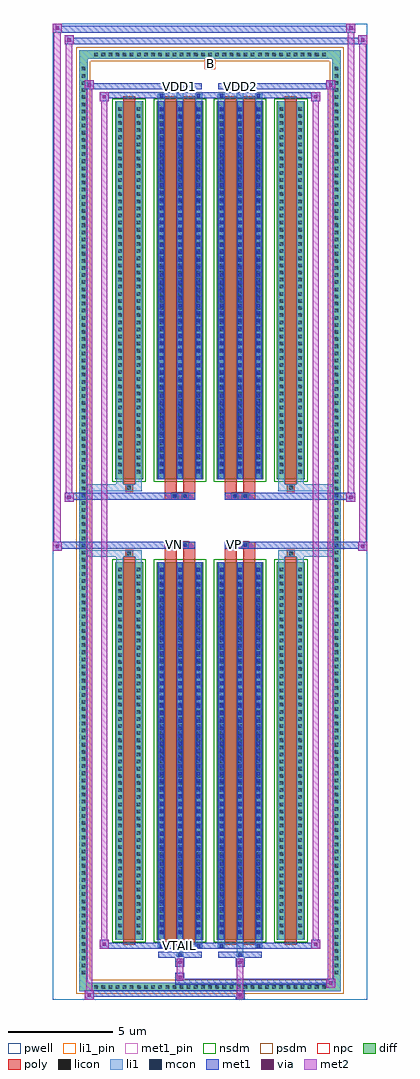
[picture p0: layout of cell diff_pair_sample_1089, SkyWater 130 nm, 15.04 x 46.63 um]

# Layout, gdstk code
import gdstk
lib = gdstk.Library(unit=1e-6, precision=5e-09)
def R(c, l, rs):  # rectangles x0, y0, x1, y1
    for r in rs: c.add(gdstk.rectangle(r[:2], r[2:], *l))
def A(c, l, x, y, w, h, nx, ny, dx, dy):  # array of equal rectangles
    R(c, l, [(x+i*dx, y+j*dy, x+i*dx+w, y+j*dy+h) for i in range(nx) for j in range(ny)])
def P(c, l, *ps):  # polygons
    for p in ps: c.add(gdstk.Polygon(p, *l))
pwell = (64, 44)
diff = (65, 20)
poly = (66, 20)
licon = (66, 44)
li1_pin = (67, 16)
li1 = (67, 20)
mcon = (67, 44)
met1_pin = (68, 16)
met1 = (68, 20)
via = (68, 44)
met2 = (69, 20)
nsdm = (93, 44)
psdm = (94, 20)
npc = (95, 20)

diff_pair_sample_1089 = lib.new_cell('diff_pair_sample_1089')
R(diff_pair_sample_1089, pwell, [(-7.52,-22.88,7.52,23.75), (-4.84,-21.07,-0.01,-0.805), (0.01,-21.07,4.84,-0.805), (-4.84,0.805,-0.01,21.07), (0.01,0.805,4.84,21.07)])
A(diff_pair_sample_1089, diff, -5.645, -22.48, 0.41, 0.41, 33, 2, 0.34, 44.55)
A(diff_pair_sample_1089, diff, -6.25, -21.795, 0.41, 0.41, 1, 128, 0, 0.34)
A(diff_pair_sample_1089, diff, 5.84, -21.795, 0.41, 0.41, 1, 128, 0, 0.34)
R(diff_pair_sample_1089, diff, [(-5.645,-22.48,5.645,-22.07), (-6.25,-21.795,-5.84,21.795), (5.84,-21.795,6.25,21.795), (-4.53,-20.025,-3.19,-1.985), (-2.55,-20.025,-0.32,-1.985), (0.32,-20.025,2.55,-1.985), (3.19,-20.025,4.53,-1.985), (-4.53,1.985,-3.19,20.025), (-2.55,1.985,-0.32,20.025), (0.32,1.985,2.55,20.025), (3.19,1.985,4.53,20.025), (-5.645,22.07,5.645,22.48)])
P(diff_pair_sample_1089, diff, [(6.25,22.48),(-6.25,22.48),(-6.25,-22.07),(-5.84,-22.07),(-5.84,22.07),(5.84,22.07),(5.84,-22.07),(-5.84,-22.07),(-6.25,-22.07),(-6.25,-22.48),(6.25,-22.48)])
R(diff_pair_sample_1089, poly, [(-4.14,-20.275,-3.58,-1.735), (-2.16,-20.275,-1.6,-1.735), (-1.27,-20.275,-0.71,-1.735), (0.71,-20.275,1.27,-1.735), (1.6,-20.275,2.16,-1.735), (3.58,-20.275,4.14,-1.735), (-4.025,-1.735,-3.695,-1.405), (-4.025,-1.735,-3.695,-1.405), (-2.16,-1.735,-1.6,-1.335), (-1.27,-1.735,-0.71,-1.335), (0.71,-1.735,1.27,-1.335), (1.6,-1.735,2.16,-1.335), (3.695,-1.735,4.025,-1.405), (3.695,-1.735,4.025,-1.405), (-2.16,-1.335,-0.71,-1.005), (-1.85,-1.335,-1.52,-1.005), (-1.35,-1.335,-1.02,-1.005), (0.71,-1.335,2.16,-1.005), (1.02,-1.335,1.35,-1.005), (1.52,-1.335,1.85,-1.005), (-2.16,1.005,-0.71,1.335), (-1.85,1.005,-1.52,1.335), (-1.35,1.005,-1.02,1.335), (0.71,1.005,2.16,1.335), (1.02,1.005,1.35,1.335), (1.52,1.005,1.85,1.335), (-2.16,1.335,-1.6,1.735), (-1.27,1.335,-0.71,1.735), (0.71,1.335,1.27,1.735), (1.6,1.335,2.16,1.735), (-4.025,1.405,-3.695,1.735), (-4.025,1.405,-3.695,1.735), (3.695,1.405,4.025,1.735), (3.695,1.405,4.025,1.735), (-4.14,1.735,-3.58,20.275), (-2.16,1.735,-1.6,20.275), (-1.27,1.735,-0.71,20.275), (0.71,1.735,1.27,20.275), (1.6,1.735,2.16,20.275), (3.58,1.735,4.14,20.275)])
A(diff_pair_sample_1089, licon, -5.525, -22.36, 0.17, 0.17, 33, 2, 0.34, 44.55)
A(diff_pair_sample_1089, licon, -6.13, -21.675, 0.17, 0.17, 1, 128, 0, 0.34)
A(diff_pair_sample_1089, licon, 5.96, -21.675, 0.17, 0.17, 1, 128, 0, 0.34)
A(diff_pair_sample_1089, licon, -4.39, -19.76, 0.17, 0.17, 1, 52, 0, 0.34)
A(diff_pair_sample_1089, licon, -3.5, -19.76, 0.17, 0.17, 1, 52, 0, 0.34)
A(diff_pair_sample_1089, licon, -2.41, -19.76, 0.17, 0.17, 3, 52, 0.89, 0.34)
A(diff_pair_sample_1089, licon, 0.46, -19.76, 0.17, 0.17, 3, 52, 0.89, 0.34)
A(diff_pair_sample_1089, licon, 3.33, -19.76, 0.17, 0.17, 1, 52, 0, 0.34)
A(diff_pair_sample_1089, licon, 4.22, -19.76, 0.17, 0.17, 1, 52, 0, 0.34)
A(diff_pair_sample_1089, licon, -4.39, 2.25, 0.17, 0.17, 1, 52, 0, 0.34)
A(diff_pair_sample_1089, licon, -3.5, 2.25, 0.17, 0.17, 1, 52, 0, 0.34)
A(diff_pair_sample_1089, licon, -2.41, 2.25, 0.17, 0.17, 3, 52, 0.89, 0.34)
A(diff_pair_sample_1089, licon, 0.46, 2.25, 0.17, 0.17, 3, 52, 0.89, 0.34)
A(diff_pair_sample_1089, licon, 3.33, 2.25, 0.17, 0.17, 1, 52, 0, 0.34)
A(diff_pair_sample_1089, licon, 4.22, 2.25, 0.17, 0.17, 1, 52, 0, 0.34)
R(diff_pair_sample_1089, licon, [(-3.945,-1.655,-3.775,-1.485), (3.775,-1.655,3.945,-1.485), (-1.77,-1.255,-1.6,-1.085), (-1.27,-1.255,-1.1,-1.085), (1.1,-1.255,1.27,-1.085), (1.6,-1.255,1.77,-1.085), (-1.77,1.085,-1.6,1.255), (-1.27,1.085,-1.1,1.255), (1.1,1.085,1.27,1.255), (1.6,1.085,1.77,1.255), (-3.945,1.485,-3.775,1.655), (3.775,1.485,3.945,1.655)])
R(diff_pair_sample_1089, li1_pin, [(-0.25,21.57,0.25,22.07)])
A(diff_pair_sample_1089, li1, -5.605, -22.44, 0.33, 0.33, 33, 2, 0.34, 44.55)
A(diff_pair_sample_1089, li1, -6.21, -21.755, 0.33, 0.33, 1, 128, 0, 0.34)
A(diff_pair_sample_1089, li1, 5.88, -21.755, 0.33, 0.33, 1, 128, 0, 0.34)
A(diff_pair_sample_1089, li1, -2.49, -20.025, 0.33, 18.04, 3, 2, 0.89, 22.01)
A(diff_pair_sample_1089, li1, 0.38, -20.025, 0.33, 18.04, 3, 2, 0.89, 22.01)
A(diff_pair_sample_1089, li1, -4.47, -19.84, 0.33, 0.33, 1, 52, 0, 0.34)
A(diff_pair_sample_1089, li1, -3.58, -19.84, 0.33, 0.33, 1, 52, 0, 0.34)
A(diff_pair_sample_1089, li1, -2.49, -19.84, 0.33, 0.33, 3, 52, 0.89, 0.34)
A(diff_pair_sample_1089, li1, 0.38, -19.84, 0.33, 0.33, 3, 52, 0.89, 0.34)
A(diff_pair_sample_1089, li1, 3.25, -19.84, 0.33, 0.33, 1, 52, 0, 0.34)
A(diff_pair_sample_1089, li1, 4.14, -19.84, 0.33, 0.33, 1, 52, 0, 0.34)
A(diff_pair_sample_1089, li1, -2.41, -19.73, 0.17, 0.17, 3, 49, 0.89, 0.36)
A(diff_pair_sample_1089, li1, -2.41, -19.73, 0.17, 17.45, 3, 2, 0.89, 22.01)
A(diff_pair_sample_1089, li1, 0.46, -19.73, 0.17, 0.17, 3, 49, 0.89, 0.36)
A(diff_pair_sample_1089, li1, 0.46, -19.73, 0.17, 17.45, 3, 2, 0.89, 22.01)
A(diff_pair_sample_1089, li1, -4.47, 2.17, 0.33, 0.33, 1, 52, 0, 0.34)
A(diff_pair_sample_1089, li1, -3.58, 2.17, 0.33, 0.33, 1, 52, 0, 0.34)
A(diff_pair_sample_1089, li1, -2.49, 2.17, 0.33, 0.33, 3, 52, 0.89, 0.34)
A(diff_pair_sample_1089, li1, 0.38, 2.17, 0.33, 0.33, 3, 52, 0.89, 0.34)
A(diff_pair_sample_1089, li1, 3.25, 2.17, 0.33, 0.33, 1, 52, 0, 0.34)
A(diff_pair_sample_1089, li1, 4.14, 2.17, 0.33, 0.33, 1, 52, 0, 0.34)
A(diff_pair_sample_1089, li1, -2.41, 2.28, 0.17, 0.17, 3, 49, 0.89, 0.36)
A(diff_pair_sample_1089, li1, 0.46, 2.28, 0.17, 0.17, 3, 49, 0.89, 0.36)
R(diff_pair_sample_1089, li1, [(-6.25,-22.48,-5.84,-22.07), (-6.25,-22.48,-5.84,-22.07), (-5.84,-22.48,5.84,-22.07), (5.84,-22.48,6.25,-22.07), (5.84,-22.48,6.25,-22.07), (-6.25,-22.07,-5.84,22.07), (5.84,-22.07,6.25,22.07), (-1.6,-20.83,-1.27,-20.025), (-1.52,-20.83,-1.35,-20.66), (1.27,-20.83,1.6,-20.025), (1.35,-20.83,1.52,-20.66), (-2.49,-20.4,-2.16,-20.025), (-2.41,-20.4,-2.24,-20.23), (-0.71,-20.4,-0.38,-20.025), (-0.63,-20.4,-0.46,-20.23), (0.38,-20.4,0.71,-20.025), (0.46,-20.4,0.63,-20.23), (2.16,-20.4,2.49,-20.025), (2.24,-20.4,2.41,-20.23), (-4.47,-20.025,-4.14,-1.985), (-3.58,-20.025,-3.25,-1.985), (3.25,-20.025,3.58,-1.985), (4.14,-20.025,4.47,-1.985), (-4.47,-1.985,-4.14,-1.405), (-3.58,-1.985,-3.25,-1.405), (3.25,-1.985,3.58,-1.405), (4.14,-1.985,4.47,-1.405), (-6.25,-1.735,-4.025,-1.405), (-4.47,-1.735,-4.025,-1.405), (-4.025,-1.735,-3.695,-1.405), (-3.695,-1.735,-3.25,-1.405), (3.25,-1.735,3.695,-1.405), (3.695,-1.735,4.025,-1.405), (3.695,-1.735,6.25,-1.405), (4.025,-1.735,4.47,-1.405), (-1.85,-1.335,-1.52,-1.005), (-1.35,-1.335,-1.02,-1.005), (1.02,-1.335,1.35,-1.005), (1.52,-1.335,1.85,-1.005), (-1.85,1.005,-1.52,1.335), (-1.35,1.005,-1.02,1.335), (1.02,1.005,1.35,1.335), (1.52,1.005,1.85,1.335), (-6.25,1.405,-4.025,1.735), (-4.47,1.405,-4.025,1.735), (-4.47,1.405,-4.14,1.985), (-4.025,1.405,-3.695,1.735), (-3.695,1.405,-3.25,1.735), (-3.58,1.405,-3.25,1.985), (3.25,1.405,3.695,1.735), (3.25,1.405,3.58,1.985), (3.695,1.405,4.025,1.735), (3.695,1.405,6.25,1.735), (4.025,1.405,4.47,1.735), (4.14,1.405,4.47,1.985), (-4.47,1.985,-4.14,20.025), (-3.58,1.985,-3.25,20.025), (3.25,1.985,3.58,20.025), (4.14,1.985,4.47,20.025), (-2.49,20.025,-2.16,20.4), (-1.6,20.025,-1.27,20.83), (-0.71,20.025,-0.38,20.4), (0.38,20.025,0.71,20.4), (1.27,20.025,1.6,20.83), (2.16,20.025,2.49,20.4), (-2.41,20.23,-2.24,20.4), (-0.63,20.23,-0.46,20.4), (0.46,20.23,0.63,20.4), (2.24,20.23,2.41,20.4), (-1.52,20.66,-1.35,20.83), (1.35,20.66,1.52,20.83), (-6.25,22.07,-5.84,22.48), (-6.25,22.07,-5.84,22.48), (-5.84,22.07,5.84,22.48), (5.84,22.07,6.25,22.48), (5.84,22.07,6.25,22.48)])
A(diff_pair_sample_1089, mcon, -2.41, -19.73, 0.17, 0.17, 3, 49, 0.89, 0.36)
A(diff_pair_sample_1089, mcon, 0.46, -19.73, 0.17, 0.17, 3, 49, 0.89, 0.36)
A(diff_pair_sample_1089, mcon, -2.41, 2.28, 0.17, 0.17, 3, 49, 0.89, 0.36)
A(diff_pair_sample_1089, mcon, 0.46, 2.28, 0.17, 0.17, 3, 49, 0.89, 0.36)
R(diff_pair_sample_1089, mcon, [(-1.52,-20.83,-1.35,-20.66), (1.35,-20.83,1.52,-20.66), (-2.41,-20.4,-2.24,-20.23), (-0.63,-20.4,-0.46,-20.23), (0.46,-20.4,0.63,-20.23), (2.24,-20.4,2.41,-20.23), (-1.77,-1.255,-1.6,-1.085), (-1.27,-1.255,-1.1,-1.085), (1.1,-1.255,1.27,-1.085), (1.6,-1.255,1.77,-1.085), (-1.77,1.085,-1.6,1.255), (-1.27,1.085,-1.1,1.255), (1.1,1.085,1.27,1.255), (1.6,1.085,1.77,1.255), (-2.41,20.23,-2.24,20.4), (-0.63,20.23,-0.46,20.4), (0.46,20.23,0.63,20.4), (2.24,20.23,2.41,20.4), (-1.52,20.66,-1.35,20.83), (1.35,20.66,1.52,20.83)])
R(diff_pair_sample_1089, met1_pin, [(-1.57,-20.44,-1.3,-20.17), (-1.82,-1.295,-1.55,-1.025), (1.05,-1.295,1.32,-1.025), (-1.57,20.62,-1.3,20.89), (1.3,20.62,1.57,20.89)])
A(diff_pair_sample_1089, met1, -2.47, -20.025, 0.29, 18.04, 3, 2, 0.89, 22.01)
A(diff_pair_sample_1089, met1, 0.4, -20.025, 0.29, 18.04, 3, 2, 0.89, 22.01)
A(diff_pair_sample_1089, met1, -2.47, -19.79, 0.29, 0.29, 3, 49, 0.89, 0.36)
A(diff_pair_sample_1089, met1, 0.4, -19.79, 0.29, 0.29, 3, 49, 0.89, 0.36)
A(diff_pair_sample_1089, met1, -2.47, 2.22, 0.29, 0.29, 3, 49, 0.89, 0.36)
A(diff_pair_sample_1089, met1, 0.4, 2.22, 0.29, 0.29, 3, 49, 0.89, 0.36)
R(diff_pair_sample_1089, met1, [(-5.98,-22.88,-5.55,-22.45), (1.22,-22.88,1.65,-22.45), (-5.98,-22.74,1.65,-22.45), (5.55,-22.31,5.98,-21.88), (-1.65,-22.17,5.98,-21.88), (-1.65,-22.03,-1.22,-21.6), (-1.65,-21.32,-1.22,-20.89), (1.22,-21.32,1.65,-20.89), (-2.47,-20.89,-0.4,-20.6), (-1.58,-20.89,-1.29,-20.6), (0.4,-20.89,2.47,-20.6), (1.29,-20.89,1.58,-20.6), (-5.27,-20.46,-4.84,-20.03), (-5.27,-20.46,-2.47,-20.17), (-2.47,-20.46,-2.18,-20.17), (-2.47,-20.46,-0.4,-20.17), (-0.69,-20.46,-0.4,-20.17), (-0.4,-20.46,0.4,-20.17), (0.4,-20.46,0.69,-20.17), (0.4,-20.46,2.47,-20.17), (2.18,-20.46,2.47,-20.17), (2.47,-20.46,5.27,-20.17), (4.84,-20.46,5.27,-20.03), (-7.52,-1.435,-7.09,-1.005), (7.09,-1.435,7.52,-1.005), (-7.52,-1.335,-0.71,-1.005), (-2.16,-1.335,-0.71,-1.005), (0.71,-1.335,2.16,-1.005), (0.71,-1.335,7.52,-1.005), (-1.83,-1.315,-1.54,-1.025), (-1.33,-1.315,-1.04,-1.025), (1.04,-1.315,1.33,-1.025), (1.54,-1.315,1.83,-1.025), (-6.95,0.905,-6.52,1.335), (6.52,0.905,6.95,1.335), (-6.95,1.005,-2.16,1.335), (-2.16,1.005,-0.71,1.335), (0.71,1.005,2.16,1.335), (2.16,1.005,6.95,1.335), (-1.83,1.025,-1.54,1.315), (-1.33,1.025,-1.04,1.315), (1.04,1.025,1.33,1.315), (1.54,1.025,1.83,1.315), (-5.27,20.03,-4.84,20.46), (4.84,20.03,5.27,20.46), (-5.27,20.17,-2.47,20.46), (-2.47,20.17,-2.18,20.46), (-2.47,20.17,-0.4,20.46), (-0.69,20.17,-0.4,20.46), (-0.4,20.17,0.4,20.46), (0.4,20.17,0.69,20.46), (0.4,20.17,2.47,20.46), (2.18,20.17,2.47,20.46), (2.47,20.17,5.27,20.46), (-5.98,20.6,-5.55,21.03), (-5.98,20.6,-2.47,20.89), (-2.47,20.6,-0.4,20.89), (-1.58,20.6,-1.29,20.89), (0.4,20.6,2.47,20.89), (1.29,20.6,1.58,20.89), (2.47,20.6,5.98,20.89), (5.55,20.6,5.98,21.03), (-6.95,22.75,-6.52,23.18), (-6.95,22.75,-4.84,23.08), (-4.84,22.75,4.84,23.08), (4.84,22.75,7.52,23.08), (7.09,22.75,7.52,23.18), (-7.52,23.32,-7.09,23.75), (-7.52,23.32,-4.84,23.65), (-4.84,23.32,4.84,23.65), (4.84,23.32,6.95,23.65), (6.52,23.32,6.95,23.75)])
R(diff_pair_sample_1089, via, [(-5.84,-22.74,-5.69,-22.59), (1.36,-22.74,1.51,-22.59), (5.69,-22.17,5.84,-22.02), (-1.51,-21.89,-1.36,-21.74), (-1.51,-21.18,-1.36,-21.03), (1.36,-21.18,1.51,-21.03), (-5.13,-20.32,-4.98,-20.17), (4.98,-20.32,5.13,-20.17), (-7.38,-1.295,-7.23,-1.145), (7.23,-1.295,7.38,-1.145), (-6.81,1.045,-6.66,1.195), (6.66,1.045,6.81,1.195), (-5.13,20.17,-4.98,20.32), (4.98,20.17,5.13,20.32), (-5.84,20.74,-5.69,20.89), (5.69,20.74,5.84,20.89), (-6.81,22.89,-6.66,23.04), (7.23,22.89,7.38,23.04), (-7.38,23.46,-7.23,23.61), (6.66,23.46,6.81,23.61)])
R(diff_pair_sample_1089, met2, [(-5.98,-22.88,-5.55,-22.45), (-5.91,-22.88,-5.62,21.03), (-5.62,-22.88,-5.55,-22.45), (-5.93,-22.83,-5.6,-22.5), (1.27,-22.83,1.6,-22.5), (1.27,-22.5,1.6,-21.27), (5.55,-22.31,5.98,-21.88), (5.62,-22.31,5.91,21.03), (5.91,-22.31,5.98,-21.88), (5.6,-22.26,5.93,-21.93), (-1.6,-21.98,-1.27,-21.65), (-1.6,-21.65,-1.27,-21.27), (-1.6,-21.27,-1.27,-20.94), (1.27,-21.27,1.6,-20.94), (-5.27,-20.46,-4.84,-20.03), (-5.2,-20.46,-4.91,20.46), (-4.91,-20.46,-4.84,-20.03), (4.84,-20.46,5.27,-20.03), (4.91,-20.46,5.2,20.46), (5.2,-20.46,5.27,-20.03), (-5.22,-20.41,-4.89,-20.08), (4.89,-20.41,5.22,-20.08), (-7.52,-1.435,-7.09,-1.005), (-7.47,-1.435,-7.14,23.75), (-7.14,-1.435,-7.09,-1.005), (7.09,-1.435,7.52,-1.005), (7.14,-1.435,7.47,23.18), (7.47,-1.435,7.52,-1.005), (-7.47,-1.385,-7.14,-1.055), (7.14,-1.385,7.47,-1.055), (-6.95,0.905,-6.52,1.335), (-6.9,0.905,-6.57,23.18), (-6.57,0.905,-6.52,1.335), (6.52,0.905,6.95,1.335), (6.57,0.905,6.9,23.75), (6.9,0.905,6.95,1.335), (-6.9,0.955,-6.57,1.285), (6.57,0.955,6.9,1.285), (-5.27,20.03,-4.84,20.46), (-4.91,20.03,-4.84,20.46), (4.84,20.03,5.27,20.46), (5.2,20.03,5.27,20.46), (-5.22,20.08,-4.89,20.41), (4.89,20.08,5.22,20.41), (-5.98,20.6,-5.55,21.03), (-5.62,20.6,-5.55,21.03), (5.55,20.6,5.98,21.03), (5.91,20.6,5.98,21.03), (-5.93,20.65,-5.6,20.98), (5.6,20.65,5.93,20.98), (-6.95,22.75,-6.52,23.18), (-6.57,22.75,-6.52,23.18), (7.09,22.75,7.52,23.18), (7.47,22.75,7.52,23.18), (-6.9,22.8,-6.57,23.13), (7.14,22.8,7.47,23.13), (-7.52,23.32,-7.09,23.75), (-7.14,23.32,-7.09,23.75), (6.52,23.32,6.95,23.75), (6.9,23.32,6.95,23.75), (-7.47,23.37,-7.14,23.7), (6.57,23.37,6.9,23.7)])
R(diff_pair_sample_1089, nsdm, [(-4.66,-20.155,-3.06,-1.855), (-2.68,-20.155,-0.19,-1.855), (0.19,-20.155,2.68,-1.855), (3.06,-20.155,4.66,-1.855), (-4.66,1.855,-3.06,20.155), (-2.68,1.855,-0.19,20.155), (0.19,1.855,2.68,20.155), (3.06,1.855,4.66,20.155)])
P(diff_pair_sample_1089, psdm, [(6.38,22.61),(-6.38,22.61),(-6.38,-21.94),(-5.71,-21.94),(-5.71,21.94),(5.71,21.94),(5.71,-21.94),(-5.71,-21.94),(-6.38,-21.94),(-6.38,-22.61),(6.38,-22.61)])
R(diff_pair_sample_1089, npc, [(-4.045,-1.755,-3.675,-1.385), (3.675,-1.755,4.045,-1.385), (-1.87,-1.355,-1.5,-0.985), (-1.87,-1.355,-1,-0.985), (-1.87,-1.355,-1,-0.985), (-1.37,-1.355,-1,-0.985), (1,-1.355,1.37,-0.985), (1,-1.355,1.87,-0.985), (1,-1.355,1.87,-0.985), (1.5,-1.355,1.87,-0.985), (-1.87,0.985,-1.5,1.355), (-1.87,0.985,-1,1.355), (-1.87,0.985,-1,1.355), (-1.37,0.985,-1,1.355), (1,0.985,1.37,1.355), (1,0.985,1.87,1.355), (1,0.985,1.87,1.355), (1.5,0.985,1.87,1.355), (-4.045,1.385,-3.675,1.755), (3.675,1.385,4.045,1.755)])
diff_pair_sample_1089.add(gdstk.Label('VTAIL', (-1.435,-20.305), layer=68, texttype=5))
diff_pair_sample_1089.add(gdstk.Label('VN', (-1.685,-1.16), layer=68, texttype=5))
diff_pair_sample_1089.add(gdstk.Label('VP', (1.185,-1.16), layer=68, texttype=5))
diff_pair_sample_1089.add(gdstk.Label('B', (0,21.82), layer=67, texttype=5))
diff_pair_sample_1089.add(gdstk.Label('VDD2', (1.435,20.755), layer=68, texttype=5))
diff_pair_sample_1089.add(gdstk.Label('VDD1', (-1.435,20.755), layer=68, texttype=5))

lib.write_gds('diff_pair_sample_1089.gds')
